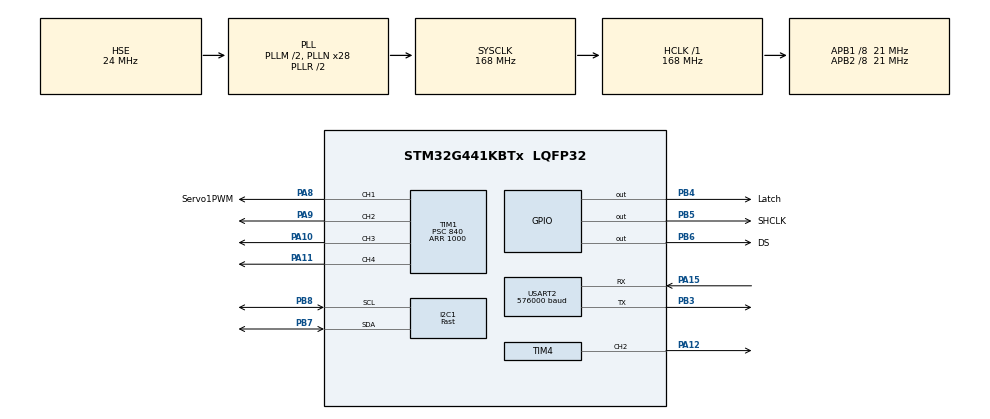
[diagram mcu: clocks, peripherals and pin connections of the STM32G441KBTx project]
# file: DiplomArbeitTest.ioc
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Dma.Request0=USART2_RX
Dma.USART2_RX.0.Direction=DMA_PERIPH_TO_MEMORY
Dma.USART2_RX.0.EventEnable=DISABLE
Dma.USART2_RX.0.Instance=DMA1_Channel1
Dma.USART2_RX.0.MemDataAlignment=DMA_MDATAALIGN_BYTE
Dma.USART2_RX.0.MemInc=DMA_MINC_ENABLE
Dma.USART2_RX.0.Mode=DMA_NORMAL
Dma.USART2_RX.0.PeriphDataAlignment=DMA_PDATAALIGN_BYTE
Dma.USART2_RX.0.PeriphInc=DMA_PINC_DISABLE
Dma.USART2_RX.0.Polarity=HAL_DMAMUX_REQ_GEN_RISING
Dma.USART2_RX.0.Priority=DMA_PRIORITY_LOW
Dma.USART2_RX.0.RequestNumber=1
Dma.USART2_RX.0.SignalID=NONE
Dma.USART2_RX.0.SyncEnable=DISABLE
Dma.USART2_RX.0.SyncPolarity=HAL_DMAMUX_SYNC_NO_EVENT
Dma.USART2_RX.0.SyncRequestNumber=1
Dma.USART2_RX.0.SyncSignalID=NONE
I2C1.I2C_Fall_Time=0
I2C1.I2C_Rise_Time=0
I2C1.I2C_Speed_Mode=I2C_Fast
I2C1.NoStretchMode=I2C_NOSTRETCH_DISABLE
I2C1.Timing=0x00200923
Mcu.Family=STM32G4
Mcu.Name=STM32G441KBTx
Mcu.Package=LQFP32
NVIC.DMA1_Channel1_IRQn=true\:0\:0\:false\:false\:true\:false\:true\:true
NVIC.PriorityGroup=NVIC_PRIORITYGROUP_4
NVIC.USART2_IRQn=true\:0\:0\:false\:false\:true\:true\:true\:true
PA10.Signal=S_TIM1_CH3
PA11.Signal=S_TIM1_CH4
PA12.Signal=S_TIM4_CH2
PA13.Mode=Serial_Wire
PA13.Signal=SYS_JTMS-SWDIO
PA14.Mode=Serial_Wire
PA14.Signal=SYS_JTCK-SWCLK
PA15.Mode=Asynchronous
PA15.Signal=USART2_RX
PA8.GPIO_Label=Servo1PWM
PA8.Signal=S_TIM1_CH1
PA9.Signal=S_TIM1_CH2
PB3.Mode=Asynchronous
PB3.Signal=USART2_TX
PB4.GPIO_Label=Latch
PB4.Signal=GPIO_Output
PB5.GPIO_Label=SHCLK
PB5.Signal=GPIO_Output
PB6.GPIO_Label=DS
PB6.Signal=GPIO_Output
PB7.GPIO_Pu=GPIO_NOPULL
PB7.GPIO_Speed=GPIO_SPEED_FREQ_VERY_HIGH
PB7.Mode=I2C
PB7.Signal=I2C1_SDA
PB8-BOOT0.GPIO_Mode=GPIO_MODE_AF_OD
PB8-BOOT0.GPIO_Pu=GPIO_NOPULL
PB8-BOOT0.GPIO_Speed=GPIO_SPEED_FREQ_VERY_HIGH
PB8-BOOT0.Mode=I2C
PB8-BOOT0.Signal=I2C1_SCL
PF0-OSC_IN.Mode=HSE-External-Oscillator
PF0-OSC_IN.Signal=RCC_OSC_IN
PF1-OSC_OUT.Mode=HSE-External-Oscillator
PF1-OSC_OUT.Signal=RCC_OSC_OUT
ProjectManager.HeapSize=0x200
ProjectManager.StackSize=0x400
ProjectManager.TargetToolchain=STM32CubeIDE
RCC.ADC12Freq_Value=168000000
RCC.AHBFreq_Value=168000000
RCC.APB1CLKDivider=RCC_HCLK_DIV8
RCC.APB1Freq_Value=21000000
RCC.APB1TimFreq_Value=42000000
RCC.APB2CLKDivider=RCC_HCLK_DIV8
RCC.APB2Freq_Value=21000000
RCC.APB2TimFreq_Value=42000000
RCC.CortexFreq_Value=168000000
RCC.EXTERNAL_CLOCK_VALUE=12288000
RCC.HCLKFreq_Value=168000000
RCC.HSE_VALUE=24000000
RCC.HSI48_VALUE=48000000
RCC.HSI_VALUE=16000000
RCC.LSE_VALUE=32768
RCC.PLLM=RCC_PLLM_DIV2
RCC.PLLN=28
RCC.PLLSourceVirtual=RCC_PLLSOURCE_HSE
RCC.SYSCLKFreq_VALUE=168000000
RCC.SYSCLKSource=RCC_SYSCLKSOURCE_PLLCLK
RCC.USART2CLockSelection=RCC_USART2CLKSOURCE_SYSCLK
RCC.USBFreq_Value=168000000
RCC.VCOOutputFreq_Value=336000000
SH.S_TIM1_CH1.0=TIM1_CH1,PWM Generation1 CH1
SH.S_TIM1_CH2.0=TIM1_CH2,PWM Generation2 CH2
SH.S_TIM1_CH3.0=TIM1_CH3,PWM Generation3 CH3
SH.S_TIM1_CH4.0=TIM1_CH4,PWM Generation4 CH4
SH.S_TIM4_CH2.0=TIM4_CH2,PWM Generation2 CH2
TIM1.Channel-PWM\ Generation1\ CH1=TIM_CHANNEL_1
TIM1.Channel-PWM\ Generation2\ CH2=TIM_CHANNEL_2
TIM1.Channel-PWM\ Generation3\ CH3=TIM_CHANNEL_3
TIM1.Channel-PWM\ Generation4\ CH4=TIM_CHANNEL_4
TIM1.ClockDivision=TIM_CLOCKDIVISION_DIV1
TIM1.PeriodNoDither=1000
TIM1.Prescaler=840
TIM1.PulseNoDither_1=500
TIM4.Channel-PWM\ Generation2\ CH2=TIM_CHANNEL_2
TIM4.PeriodNoDither=1000
TIM4.Prescaler=840
USART2.BaudRate=576000
USART2.VirtualMode-Asynchronous=VM_ASYNC
VP_TIM1_VS_ClockSourceINT.Mode=Internal
VP_TIM4_VS_ClockSourceINT.Mode=Internal
board=custom

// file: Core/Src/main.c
/* USER CODE BEGIN Header */
/**
  ******************************************************************************
  * @file           : main.c
  * @brief          : Main program body
  ******************************************************************************
  * @attention
  *
  * Copyright (c) 2022 STMicroelectronics.
  * All rights reserved.
  *
  * This software is licensed under terms that can be found in the LICENSE file
  * in the root directory of this software component.
  * If no LICENSE file comes with this software, it is provided AS-IS.
  *
  ******************************************************************************
  */
/* USER CODE END Header */
#include "main.h"

/* USER CODE BEGIN Includes */
#include <stdio.h>
#include <math.h>
#include <string.h>
#include "mpu6050.h"
#include <stdbool.h>
/* USER CODE END Includes */

I2C_HandleTypeDef hi2c1;

TIM_HandleTypeDef htim1;
TIM_HandleTypeDef htim4;

UART_HandleTypeDef huart2;
DMA_HandleTypeDef hdma_usart2_rx;

/* USER CODE BEGIN PV */
#define MPU_COUNT 0
uint8_t Read = -1;
uint8_t Write = 1;
uint8_t Overwrite = 0;
/* USER CODE END PV */

void SystemClock_Config(void);
static void MX_GPIO_Init(void);
static void MX_DMA_Init(void);
static void MX_TIM1_Init(void);
static void MX_I2C1_Init(void);
static void MX_USART2_UART_Init(void);
static void MX_TIM4_Init(void);
/* USER CODE BEGIN PFP */

void WriteToShiftReg(uint8_t value, uint8_t value2)
{
  HAL_GPIO_WritePin(GPIOB, GPIO_PIN_4, GPIO_PIN_RESET); // Latch LOW

  // Send Data
  uint8_t mask = 0b10000000;
  for (int i = 0; i < 8; i++)
  {
    // Send one bit of data
    bool state = ((value & mask) > 0);
    if (state == 1)
      HAL_GPIO_WritePin(GPIOB, GPIO_PIN_6, GPIO_PIN_SET); // Send 1
    else
      HAL_GPIO_WritePin(GPIOB, GPIO_PIN_6, GPIO_PIN_RESET); // Send 0
    // Pulse the CLOCK pin so that the shift register receives the bit of data
    HAL_GPIO_WritePin(GPIOB, GPIO_PIN_5, GPIO_PIN_SET); // Clock High
    //HAL_Delay (1);
    HAL_GPIO_WritePin(GPIOB, GPIO_PIN_5, GPIO_PIN_RESET); // Clock LOW
    mask >>= 1;
  }

  mask = 0b10000000;
  for (int i = 0; i < 8; i++)
  {
    // Send one bit of data
    bool state = ((value2 & mask) > 0);
    if (state == 1)
      HAL_GPIO_WritePin(GPIOB, GPIO_PIN_6, GPIO_PIN_SET); // Send 1
    else
      HAL_GPIO_WritePin(GPIOB, GPIO_PIN_6, GPIO_PIN_RESET); // Send 0
    // Pulse the CLOCK pin so that the shift register receives the bit of data
    HAL_GPIO_WritePin(GPIOB, GPIO_PIN_5, GPIO_PIN_SET); // Clock High
    //HAL_Delay (1);
    HAL_GPIO_WritePin(GPIOB, GPIO_PIN_5, GPIO_PIN_RESET); // Clock LOW
    mask >>= 1;
  }

  HAL_GPIO_WritePin(GPIOB, GPIO_PIN_4, GPIO_PIN_SET); // Latch HIGH
}

void WriteToShiftRegInvers(uint8_t value, uint8_t value2)
{
  HAL_GPIO_WritePin(GPIOB, GPIO_PIN_4, GPIO_PIN_RESET); // Latch LOW

  // Send Data
  uint8_t mask = 0b10000000;
  for (int i = 0; i < 8; i++)
  {
    // Send one bit of data
    bool state = ((value & mask) > 0);
    if (state == 1)
      HAL_GPIO_WritePin(GPIOB, GPIO_PIN_6, GPIO_PIN_RESET); // Send 0
    else
      HAL_GPIO_WritePin(GPIOB, GPIO_PIN_6, GPIO_PIN_SET); // Send 1
    // Pulse the CLOCK pin so that the shift register receives the bit of data
    HAL_GPIO_WritePin(GPIOB, GPIO_PIN_5, GPIO_PIN_SET); // Clock High
    //HAL_Delay (1);
    HAL_GPIO_WritePin(GPIOB, GPIO_PIN_5, GPIO_PIN_RESET); // Clock LOW
    mask >>= 1;
  }

  mask = 0b10000000;
  for (int i = 0; i < 8; i++)
  {
    // Send one bit of data
    bool state = ((value2 & mask) > 0);
    if (state == 1)
      HAL_GPIO_WritePin(GPIOB, GPIO_PIN_6, GPIO_PIN_RESET); // Send 0
    else
      HAL_GPIO_WritePin(GPIOB, GPIO_PIN_6, GPIO_PIN_SET); // Send 1
    // Pulse the CLOCK pin so that the shift register receives the bit of data
    HAL_GPIO_WritePin(GPIOB, GPIO_PIN_5, GPIO_PIN_SET); // Clock High
    //HAL_Delay (1);
    HAL_GPIO_WritePin(GPIOB, GPIO_PIN_5, GPIO_PIN_RESET); // Clock LOW
    mask >>= 1;
  }

  HAL_GPIO_WritePin(GPIOB, GPIO_PIN_4, GPIO_PIN_SET); // Latch HIGH
}

void WriteToShiftRegBit(uint8_t bit)
{
  HAL_GPIO_WritePin(GPIOB, GPIO_PIN_4, GPIO_PIN_RESET); // Latch LOW
  if (bit == 1)
    HAL_GPIO_WritePin(GPIOB, GPIO_PIN_6, GPIO_PIN_SET); // Send 1
  else
    HAL_GPIO_WritePin(GPIOB, GPIO_PIN_6, GPIO_PIN_RESET); // Send 0

  HAL_GPIO_WritePin(GPIOB, GPIO_PIN_5, GPIO_PIN_SET); // Clock High
  //HAL_Delay (1);
  HAL_GPIO_WritePin(GPIOB, GPIO_PIN_5, GPIO_PIN_RESET); // Clock LOW

  HAL_GPIO_WritePin(GPIOB, GPIO_PIN_4, GPIO_PIN_SET); // Latch HIGH
}

uint32_t MAP(uint32_t au32_IN, uint32_t au32_INmin, uint32_t au32_INmax, uint32_t au32_OUTmin, uint32_t au32_OUTmax)
{
  return ((((au32_IN - au32_INmin) * (au32_OUTmax - au32_OUTmin)) / (au32_INmax - au32_INmin)) + au32_OUTmin);
}

void HAL_UART_TxCpltCallback(UART_HandleTypeDef *huart)
{
  Read = 1;
  Write = -1;
}

void HAL_UART_RxCpltCallback(UART_HandleTypeDef *huart)
{
  Read = -1;
  Write = 1;
}
/* USER CODE END PFP */

/* USER CODE BEGIN 0 */
// Data for MPU
MPU6050_t MPU6050[MPU_COUNT];
int MPU_INITIALIZE_COUNT = 0;
int time;

// Uart Rx Data Container and Receive variables
uint8_t ReceiveMode = 1; // 0 for single Data 1 for Specific Servo mode
uint8_t RXData;
uint8_t RXDataS[2];
uint8_t ServoData[5] = {25};
uint8_t RX_Counter = 0;

void ReadMPU()
{
  // Read all MPU new Shift Reg code
  WriteToShiftRegBit(0);
  for (int i = 0; i < MPU_COUNT; i++)
  {
    MPU6050_Read_All(&hi2c1, &MPU6050[i]);
    WriteToShiftRegBit(1);
  }
  WriteToShiftRegInvers(0, 0);
}

/* USER CODE END 0 */

int main(void)
{

  /* MCU Configuration--------------------------------------------------------*/

  /* Reset of all peripherals, Initializes the Flash interface and the Systick. */
	HAL_Init();

  /* Configure the system clock */
  SystemClock_Config();

  /* Initialize all configured peripherals */
  MX_GPIO_Init();
  MX_DMA_Init();
  MX_TIM1_Init();
  MX_I2C1_Init();
  MX_USART2_UART_Init();
  MX_TIM4_Init();
  /* USER CODE BEGIN 2 */

  // Initialize all MPU max 16
  WriteToShiftRegInvers(0, 0);
  WriteToShiftRegBit(0);
  for (int i = 0; i < MPU_COUNT; i++)
  {
    MPU6050[i].KalmanX.Q_angle = 0.001f;
    MPU6050[i].KalmanX.Q_bias = 0.003f;
    MPU6050[i].KalmanX.R_measure = 0.03f;

    MPU6050[i].KalmanY.Q_angle = 0.001f;
    MPU6050[i].KalmanY.Q_bias = 0.003f;
    MPU6050[i].KalmanY.R_measure = 0.03f;

    while (MPU6050_Init(&hi2c1) != 0)
    {
    	HAL_Delay(100);
    }

    /*
    if(MPU6050_Init(&hi2c1) == 0)
        MPU_INITIALIZE_COUNT++;
    */
    WriteToShiftRegBit(1);
  }
  WriteToShiftRegInvers(0, 0);

  // Initialize PWM For Servo
  // 1
  HAL_TIM_PWM_Start(&htim1, TIM_CHANNEL_1);
  // 2
  HAL_TIM_PWM_Start(&htim1, TIM_CHANNEL_2);
  // 3
  HAL_TIM_PWM_Start(&htim1, TIM_CHANNEL_3);
  // 4
  HAL_TIM_PWM_Start(&htim1, TIM_CHANNEL_4);
  // 5
  HAL_TIM_PWM_Start(&htim4, TIM_CHANNEL_2);

  /* USER CODE END 2 */

  /* Infinite loop */
  /* USER CODE BEGIN WHILE */

  int time1;
  int time2;

  while (1)
  {
    time1 = HAL_GetTick();
    // Read Gyrosensors
    ReadMPU();
    //HAL_Delay(5);

    // Send Data to PC
    if (Write == 1 || Overwrite)
    {
      char buffer[sizeof(float)];
      uint8_t hello = "Hi";
      memcpy(buffer, &MPU6050[0].KalmanAngleX, sizeof(float));
      HAL_UART_Transmit_IT(&huart2, hello, sizeof(hello));
    }

    // Receive Data
    if (Read == 1 || Overwrite == 1)
    {
      // Data = Position[Degrees: 0 - 180]
      // Receive Data from PC		One number at a Time : 10 then send 20 then send 30 then send 40 then send 50
      if (ReceiveMode == 0)
      {
        if (HAL_UART_Receive_DMA(&huart2, &RXData, 1) == HAL_OK)
        {
          //Update Servo from Degrees to DutyCycle
          if (RXData != 255) // 255 = Free Rotation of Servo
          {
            if (RXData <= 180 && RXData >= 0)
            {
              ServoData[RX_Counter] = MAP(RXData, 0, 180, 25, 125); // Remap from Degrees to Duty Cycle
            }
          }
          else
          {
            ServoData[RX_Counter] = 0;
          }

          RX_Counter++;
          if (RX_Counter >= 5)
            RX_Counter = 0;
        }
      }

      // Data = Servonumber[int: 1 - 5] Position[Degrees: 0 - 180]
      // Receive Data from Pc with a Servo in mind : 1 59 ,2 30 ,5 40 ,1 80
      if (ReceiveMode == 1)
      {
        if (HAL_UART_Receive_DMA(&huart2, &RXDataS, 2) == HAL_OK)
        {
          //Update Servo from Degrees to DutyCycle
          if (RXDataS[1] != 255) // 255 = Free Rotation of Servo
          {
            if (RXDataS[1] <= 180 && RXDataS[1] >= 0)
            {
              ServoData[RXDataS[0]] = MAP(RXDataS[1], 0, 180, 25, 125); // Remap from Degrees to Duty Cycle
            }
          }
          else
          {
            ServoData[RXDataS[0]] = 0;
          }

          __HAL_UART_SEND_REQ(&huart2, UART_RXDATA_FLUSH_REQUEST);
        }
      }
    }
    // I dont know if we need it, Flashes the RX buffer of the STM Chip

    // Write Servo Duty Cycles 25 = 0; 125 = 180
    //ServoData[0] = MAP(MPU6050[1].KalmanAngleX + 90, 0, 180, 25, 125);
    htim1.Instance->CCR1 = ServoData[0];
    htim1.Instance->CCR2 = ServoData[1];
    htim1.Instance->CCR3 = ServoData[2];
    htim1.Instance->CCR4 = ServoData[3];
    htim4.Instance->CCR2 = ServoData[4];

    time2 = HAL_GetTick();

    time = time2 - time1;
    /* USER CODE END WHILE */

  }
}

void SystemClock_Config(void)
{
  RCC_OscInitTypeDef RCC_OscInitStruct = {0};
  RCC_ClkInitTypeDef RCC_ClkInitStruct = {0};

  /** Configure the main internal regulator output voltage
  */
  HAL_PWREx_ControlVoltageScaling(PWR_REGULATOR_VOLTAGE_SCALE1_BOOST);

  /** Initializes the RCC Oscillators according to the specified parameters
  * in the RCC_OscInitTypeDef structure.
  */
  RCC_OscInitStruct.OscillatorType = RCC_OSCILLATORTYPE_HSE;
  RCC_OscInitStruct.HSEState = RCC_HSE_ON;
  RCC_OscInitStruct.PLL.PLLState = RCC_PLL_ON;
  RCC_OscInitStruct.PLL.PLLSource = RCC_PLLSOURCE_HSE;
  RCC_OscInitStruct.PLL.PLLM = RCC_PLLM_DIV2;
  RCC_OscInitStruct.PLL.PLLN = 28;
  RCC_OscInitStruct.PLL.PLLP = RCC_PLLP_DIV2;
  RCC_OscInitStruct.PLL.PLLQ = RCC_PLLQ_DIV2;
  RCC_OscInitStruct.PLL.PLLR = RCC_PLLR_DIV2;
  if (HAL_RCC_OscConfig(&RCC_OscInitStruct) != HAL_OK)
  {
    Error_Handler();
  }

  /** Initializes the CPU, AHB and APB buses clocks
  */
  RCC_ClkInitStruct.ClockType = RCC_CLOCKTYPE_HCLK | RCC_CLOCKTYPE_SYSCLK | RCC_CLOCKTYPE_PCLK1 | RCC_CLOCKTYPE_PCLK2;
  RCC_ClkInitStruct.SYSCLKSource = RCC_SYSCLKSOURCE_PLLCLK;
  RCC_ClkInitStruct.AHBCLKDivider = RCC_SYSCLK_DIV1;
  RCC_ClkInitStruct.APB1CLKDivider = RCC_HCLK_DIV8;
  RCC_ClkInitStruct.APB2CLKDivider = RCC_HCLK_DIV8;

  if (HAL_RCC_ClockConfig(&RCC_ClkInitStruct, FLASH_LATENCY_4) != HAL_OK)
  {
    Error_Handler();
  }
}

static void MX_I2C1_Init(void)
{

  hi2c1.Instance = I2C1;
  hi2c1.Init.Timing = 0x00200923;
  hi2c1.Init.OwnAddress1 = 0;
  hi2c1.Init.AddressingMode = I2C_ADDRESSINGMODE_7BIT;
  hi2c1.Init.DualAddressMode = I2C_DUALADDRESS_DISABLE;
  hi2c1.Init.OwnAddress2 = 0;
  hi2c1.Init.OwnAddress2Masks = I2C_OA2_NOMASK;
  hi2c1.Init.GeneralCallMode = I2C_GENERALCALL_DISABLE;
  hi2c1.Init.NoStretchMode = I2C_NOSTRETCH_DISABLE;
  if (HAL_I2C_Init(&hi2c1) != HAL_OK)
  {
    Error_Handler();
  }

  /** Configure Analogue filter
  */
  if (HAL_I2CEx_ConfigAnalogFilter(&hi2c1, I2C_ANALOGFILTER_ENABLE) != HAL_OK)
  {
    Error_Handler();
  }

  /** Configure Digital filter
  */
  if (HAL_I2CEx_ConfigDigitalFilter(&hi2c1, 0) != HAL_OK)
  {
    Error_Handler();
  }
}

static void MX_TIM1_Init(void)
{

  TIM_ClockConfigTypeDef sClockSourceConfig = {0};
  TIM_MasterConfigTypeDef sMasterConfig = {0};
  TIM_OC_InitTypeDef sConfigOC = {0};
  TIM_BreakDeadTimeConfigTypeDef sBreakDeadTimeConfig = {0};

  htim1.Instance = TIM1;
  htim1.Init.Prescaler = 840;
  htim1.Init.CounterMode = TIM_COUNTERMODE_UP;
  htim1.Init.Period = 1000;
  htim1.Init.ClockDivision = TIM_CLOCKDIVISION_DIV1;
  htim1.Init.RepetitionCounter = 0;
  htim1.Init.AutoReloadPreload = TIM_AUTORELOAD_PRELOAD_DISABLE;
  if (HAL_TIM_Base_Init(&htim1) != HAL_OK)
  {
    Error_Handler();
  }
  sClockSourceConfig.ClockSource = TIM_CLOCKSOURCE_INTERNAL;
  if (HAL_TIM_ConfigClockSource(&htim1, &sClockSourceConfig) != HAL_OK)
  {
    Error_Handler();
  }
  if (HAL_TIM_PWM_Init(&htim1) != HAL_OK)
  {
    Error_Handler();
  }
  sMasterConfig.MasterOutputTrigger = TIM_TRGO_RESET;
  sMasterConfig.MasterOutputTrigger2 = TIM_TRGO2_RESET;
  sMasterConfig.MasterSlaveMode = TIM_MASTERSLAVEMODE_DISABLE;
  if (HAL_TIMEx_MasterConfigSynchronization(&htim1, &sMasterConfig) != HAL_OK)
  {
    Error_Handler();
  }
  sConfigOC.OCMode = TIM_OCMODE_PWM1;
  sConfigOC.Pulse = 500;
  sConfigOC.OCPolarity = TIM_OCPOLARITY_HIGH;
  sConfigOC.OCNPolarity = TIM_OCNPOLARITY_HIGH;
  sConfigOC.OCFastMode = TIM_OCFAST_DISABLE;
  sConfigOC.OCIdleState = TIM_OCIDLESTATE_RESET;
  sConfigOC.OCNIdleState = TIM_OCNIDLESTATE_RESET;
  if (HAL_TIM_PWM_ConfigChannel(&htim1, &sConfigOC, TIM_CHANNEL_1) != HAL_OK)
  {
    Error_Handler();
  }
  sConfigOC.Pulse = 0;
  if (HAL_TIM_PWM_ConfigChannel(&htim1, &sConfigOC, TIM_CHANNEL_2) != HAL_OK)
  {
    Error_Handler();
  }
  if (HAL_TIM_PWM_ConfigChannel(&htim1, &sConfigOC, TIM_CHANNEL_3) != HAL_OK)
  {
    Error_Handler();
  }
  if (HAL_TIM_PWM_ConfigChannel(&htim1, &sConfigOC, TIM_CHANNEL_4) != HAL_OK)
  {
    Error_Handler();
  }
  sBreakDeadTimeConfig.OffStateRunMode = TIM_OSSR_DISABLE;
  sBreakDeadTimeConfig.OffStateIDLEMode = TIM_OSSI_DISABLE;
  sBreakDeadTimeConfig.LockLevel = TIM_LOCKLEVEL_OFF;
  sBreakDeadTimeConfig.DeadTime = 0;
  sBreakDeadTimeConfig.BreakState = TIM_BREAK_DISABLE;
  sBreakDeadTimeConfig.BreakPolarity = TIM_BREAKPOLARITY_HIGH;
  sBreakDeadTimeConfig.BreakFilter = 0;
  sBreakDeadTimeConfig.BreakAFMode = TIM_BREAK_AFMODE_INPUT;
  sBreakDeadTimeConfig.Break2State = TIM_BREAK2_DISABLE;
  sBreakDeadTimeConfig.Break2Polarity = TIM_BREAK2POLARITY_HIGH;
  sBreakDeadTimeConfig.Break2Filter = 0;
  sBreakDeadTimeConfig.Break2AFMode = TIM_BREAK_AFMODE_INPUT;
  sBreakDeadTimeConfig.AutomaticOutput = TIM_AUTOMATICOUTPUT_DISABLE;
  if (HAL_TIMEx_ConfigBreakDeadTime(&htim1, &sBreakDeadTimeConfig) != HAL_OK)
  {
    Error_Handler();
  }
  HAL_TIM_MspPostInit(&htim1);
}

static void MX_TIM4_Init(void)
{

  TIM_ClockConfigTypeDef sClockSourceConfig = {0};
  TIM_MasterConfigTypeDef sMasterConfig = {0};
  TIM_OC_InitTypeDef sConfigOC = {0};

  htim4.Instance = TIM4;
  htim4.Init.Prescaler = 840;
  htim4.Init.CounterMode = TIM_COUNTERMODE_UP;
  htim4.Init.Period = 1000;
  htim4.Init.ClockDivision = TIM_CLOCKDIVISION_DIV1;
  htim4.Init.AutoReloadPreload = TIM_AUTORELOAD_PRELOAD_DISABLE;
  if (HAL_TIM_Base_Init(&htim4) != HAL_OK)
  {
    Error_Handler();
  }
  sClockSourceConfig.ClockSource = TIM_CLOCKSOURCE_INTERNAL;
  if (HAL_TIM_ConfigClockSource(&htim4, &sClockSourceConfig) != HAL_OK)
  {
    Error_Handler();
  }
  if (HAL_TIM_PWM_Init(&htim4) != HAL_OK)
  {
    Error_Handler();
  }
  sMasterConfig.MasterOutputTrigger = TIM_TRGO_RESET;
  sMasterConfig.MasterSlaveMode = TIM_MASTERSLAVEMODE_DISABLE;
  if (HAL_TIMEx_MasterConfigSynchronization(&htim4, &sMasterConfig) != HAL_OK)
  {
    Error_Handler();
  }
  sConfigOC.OCMode = TIM_OCMODE_PWM1;
  sConfigOC.Pulse = 0;
  sConfigOC.OCPolarity = TIM_OCPOLARITY_HIGH;
  sConfigOC.OCFastMode = TIM_OCFAST_DISABLE;
  if (HAL_TIM_PWM_ConfigChannel(&htim4, &sConfigOC, TIM_CHANNEL_2) != HAL_OK)
  {
    Error_Handler();
  }
  HAL_TIM_MspPostInit(&htim4);
}

static void MX_USART2_UART_Init(void)
{

  huart2.Instance = USART2;
  huart2.Init.BaudRate = 576000;
  huart2.Init.WordLength = UART_WORDLENGTH_8B;
  huart2.Init.StopBits = UART_STOPBITS_1;
  huart2.Init.Parity = UART_PARITY_NONE;
  huart2.Init.Mode = UART_MODE_TX_RX;
  huart2.Init.HwFlowCtl = UART_HWCONTROL_NONE;
  huart2.Init.OverSampling = UART_OVERSAMPLING_16;
  huart2.Init.OneBitSampling = UART_ONE_BIT_SAMPLE_DISABLE;
  huart2.Init.ClockPrescaler = UART_PRESCALER_DIV1;
  huart2.AdvancedInit.AdvFeatureInit = UART_ADVFEATURE_NO_INIT;
  if (HAL_UART_Init(&huart2) != HAL_OK)
  {
    Error_Handler();
  }
  if (HAL_UARTEx_SetTxFifoThreshold(&huart2, UART_TXFIFO_THRESHOLD_1_8) != HAL_OK)
  {
    Error_Handler();
  }
  if (HAL_UARTEx_SetRxFifoThreshold(&huart2, UART_RXFIFO_THRESHOLD_1_8) != HAL_OK)
  {
    Error_Handler();
  }
  if (HAL_UARTEx_DisableFifoMode(&huart2) != HAL_OK)
  {
    Error_Handler();
  }
}

static void MX_DMA_Init(void)
{

  /* DMA controller clock enable */
  __HAL_RCC_DMAMUX1_CLK_ENABLE();
  __HAL_RCC_DMA1_CLK_ENABLE();

  /* DMA interrupt init */
  /* DMA1_Channel1_IRQn interrupt configuration */
  HAL_NVIC_SetPriority(DMA1_Channel1_IRQn, 0, 0);
  HAL_NVIC_EnableIRQ(DMA1_Channel1_IRQn);
}

static void MX_GPIO_Init(void)
{
  GPIO_InitTypeDef GPIO_InitStruct = {0};

  /* GPIO Ports Clock Enable */
  __HAL_RCC_GPIOF_CLK_ENABLE();
  __HAL_RCC_GPIOA_CLK_ENABLE();
  __HAL_RCC_GPIOB_CLK_ENABLE();

  /*Configure GPIO pin Output Level */
  HAL_GPIO_WritePin(GPIOB, Latch_Pin | SHCLK_Pin | DS_Pin, GPIO_PIN_RESET);

  /*Configure GPIO pins : Latch_Pin SHCLK_Pin DS_Pin */
  GPIO_InitStruct.Pin = Latch_Pin | SHCLK_Pin | DS_Pin;
  GPIO_InitStruct.Mode = GPIO_MODE_OUTPUT_PP;
  GPIO_InitStruct.Pull = GPIO_NOPULL;
  GPIO_InitStruct.Speed = GPIO_SPEED_FREQ_LOW;
  HAL_GPIO_Init(GPIOB, &GPIO_InitStruct);
}

void Error_Handler(void)
{
  __disable_irq();
  while (1)
  {
  }
}
